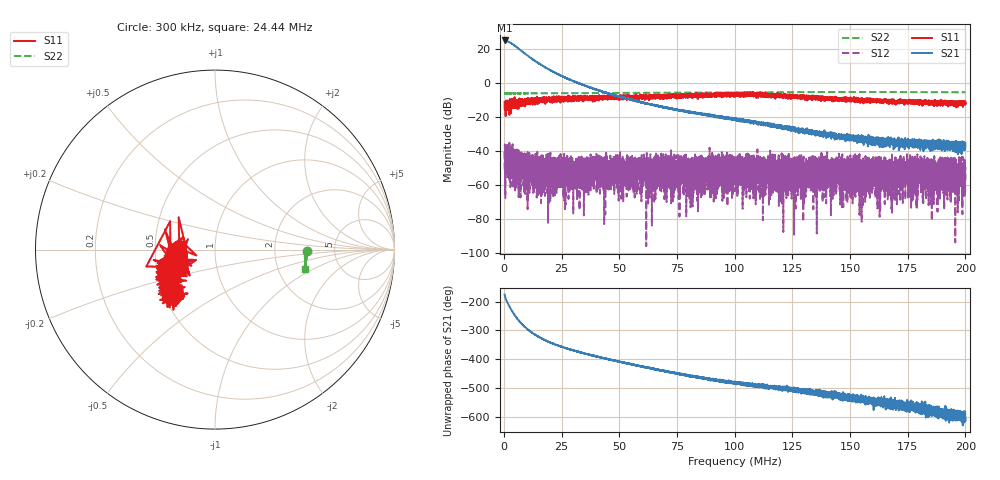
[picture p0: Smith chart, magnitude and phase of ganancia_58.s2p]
# Hz S DB R 50
! CMT, M5065, 19127446, 24.2.4/2
! Date: 11/8/2024 5:34:48 PM
! Data: Format (Calibration Info)
! Freq	S11:dB/Ang(F2)	S21:dB/Ang(F2)	S12:dB/Ang(F2)	S22:dB/Ang(F2)
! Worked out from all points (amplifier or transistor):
!   9000 points, 300 kHz to 200 MHz, reference 50 ohm
!   highest |S21| = 25.3 dB at 344.4 kHz (marker M1)
!   |S21| within 3 dB of that: start of sweep to 4.574 MHz
!   unconditionally stable (mu >= 1): start of sweep to end of sweep
!   at 33.59 MHz: K = 56.68, MAG = 1.3 dB, |S12| = -44.3 dB
!   at 100.2 MHz: K = 747.52, MAG = -18.6 dB, |S12| = -47.3 dB
!   at 200 MHz: K = 15665.11, MAG = -33.4 dB, |S12| = -58.4 dB
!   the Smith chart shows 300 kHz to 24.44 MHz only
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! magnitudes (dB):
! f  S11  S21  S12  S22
! 300 kHz  -11.1  25.2  -40.2  -5.8
! 344.4 kHz  -13.9  25.3  -44.1  -5.8
! 1.609 MHz  -13.0  24.7  -42.6  -5.9
! 8.355 MHz  -12.1  18.3  -60.1  -5.9
! 10.2 MHz  -9.6  16.4  -53.1  -5.8
! 25.75 MHz  -9.5  3.9  -51.6  -5.8
! 33.59 MHz  -9.4  -0.6  -44.3  -5.7
! 66.87 MHz  -7.6  -13.2  -58.6  -5.5
! 79.92 MHz  -6.8  -16.8  -52.7  -5.5
! 100.2 MHz  -7.0  -21.1  -47.3  -5.4
! 108.2 MHz  -6.9  -22.9  -51.9  -5.4
! 110.2 MHz  -8.5  -23.7  -49.1  -5.4
! 113.1 MHz  -7.1  -23.7  -54.4  -5.3
! 115.9 MHz  -7.1  -25.0  -44.2  -5.3
! 117.6 MHz  -9.0  -25.6  -56.1  -5.3
! 128.7 MHz  -8.1  -27.1  -46.7  -5.2
! 130.7 MHz  -8.1  -29.4  -49.8  -5.2
! 133.4 MHz  -7.2  -29.7  -45.3  -5.2
! 155.6 MHz  -10.1  -32.8  -49.9  -5.1
! 166.7 MHz  -10.0  -32.2  -54.3  -5.1
! 198.2 MHz  -10.3  -37.7  -46.6  -5.2
! 200 MHz  -10.9  -35.3  -58.4  -5.3
